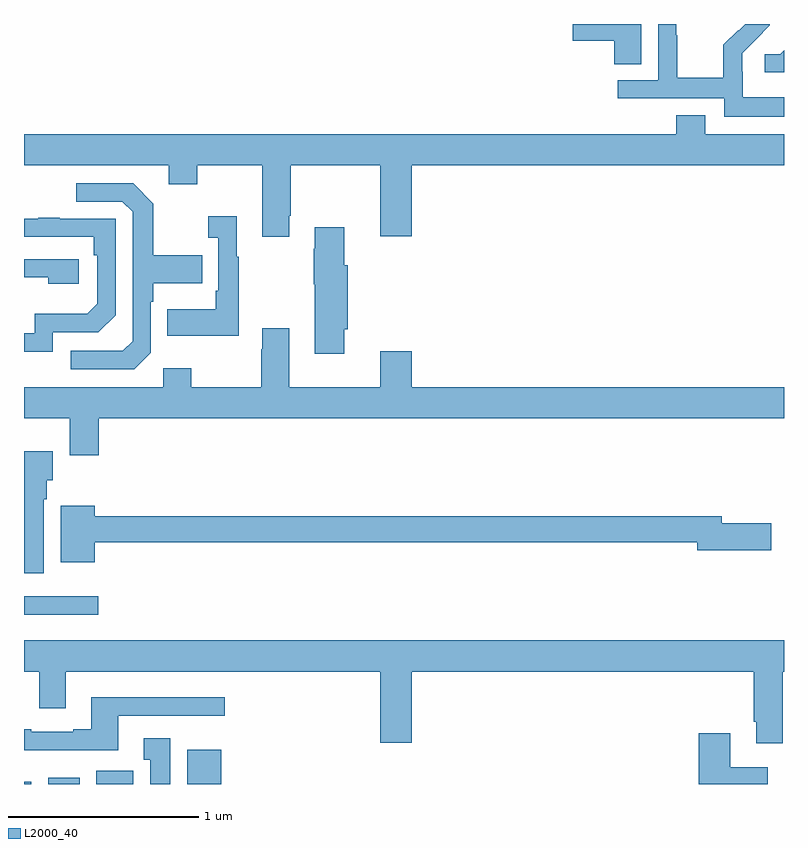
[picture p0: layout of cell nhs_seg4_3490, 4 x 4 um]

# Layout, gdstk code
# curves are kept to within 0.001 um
import gdstk
lib = gdstk.Library(unit=1e-6, precision=1e-09)
def R(c, l, rs):  # rectangles x0, y0, x1, y1
    for r in rs: c.add(gdstk.rectangle(r[:2], r[2:], *l))
def P(c, l, *ps):  # polygons
    for p in ps: c.add(gdstk.Polygon(p, *l))
L2000_40 = (2000, 40)

nhs_seg4_3490 = lib.new_cell('nhs_seg4_3490')
R(nhs_seg4_3490, L2000_40, [(295,790.9,295.039,790.912), (295.127,790.9,295.294,790.933), (295.379,790.9,295.575,790.969), (295.859,790.9,296.038,791.08), (295,791.792,295.39,791.889)])
P(nhs_seg4_3490, L2000_40, [(298.249,794.9),(297.888,794.9),(297.888,794.813),(298.106,794.813),(298.106,794.689),(298.249,794.689)],
  [(299,794.515),(298.782,794.515),(298.782,794.649),(298.78,794.649),(298.78,794.746),(298.926,794.894),(298.926,794.9),(298.796,794.9),(298.761,794.865),(298.758,794.868),(298.681,794.791),(298.681,794.617),(298.437,794.617),(298.437,794.84),(298.434,794.84),(298.434,794.9),(298.338,794.9),(298.338,794.604),(298.125,794.604),(298.125,794.508),(298.686,794.508),(298.686,794.411),(299,794.411)],
  [(299,794.762),(298.98,794.742),(298.899,794.742),(298.899,794.645),(299,794.645)],
  [(296.395,793.891),(296.403,793.891),(296.403,794.156),(296.876,794.156),(296.876,793.782),(297.04,793.782),(297.04,794.156),(299,794.156),(299,794.32),(298.585,794.32),(298.585,794.419),(298.433,794.419),(298.433,794.32),(295,794.32),(295,794.156),(295.763,794.156),(295.763,794.057),(295.911,794.057),(295.911,794.156),(296.255,794.156),(296.255,793.779),(296.395,793.779)],
  [(295.668,793.17),(295.668,793.439),(295.681,793.439),(295.681,793.535),(295.937,793.535),(295.937,793.683),(295.681,793.683),(295.681,793.955),(295.575,794.061),(295.275,794.061),(295.275,793.965),(295.518,793.965),(295.572,793.911),(295.572,793.23),(295.521,793.179),(295.245,793.179),(295.245,793.083),(295.581,793.083)],
  [(296.131,793.675),(296.119,793.675),(296.119,793.888),(295.971,793.888),(295.971,793.775),(296.022,793.775),(296.022,793.495),(296.01,793.495),(296.01,793.399),(295.753,793.399),(295.753,793.259),(296.131,793.259)],
  [(295.152,793.278),(295.392,793.278),(295.482,793.368),(295.482,793.875),(295.187,793.875),(295.187,793.88),(295.075,793.88),(295.075,793.875),(295,793.875),(295,793.779),(295.366,793.779),(295.366,793.682),(295.386,793.682),(295.386,793.428),(295.333,793.375),(295.056,793.375),(295.056,793.272),(295,793.272),(295,793.176),(295.152,793.176)],
  [(296.686,793.293),(296.704,793.293),(296.704,793.629),(296.686,793.629),(296.686,793.831),(296.531,793.831),(296.531,793.718),(296.524,793.718),(296.524,793.529),(296.531,793.529),(296.531,793.164),(296.686,793.164)],
  [(295.288,793.662),(295,793.662),(295,793.566),(295.127,793.566),(295.127,793.532),(295.288,793.532)],
  [(295.394,792.824),(299,792.824),(299,792.988),(297.04,792.988),(297.04,793.177),(296.876,793.177),(296.876,792.988),(296.395,792.988),(296.395,793.3),(296.255,793.3),(296.255,793.187),(296.248,793.187),(296.248,792.988),(295.881,792.988),(295.881,793.087),(295.734,793.087),(295.734,792.988),(295,792.988),(295,792.824),(295.241,792.824),(295.241,792.63),(295.394,792.63)],
  [(295.105,792.398),(295.12,792.398),(295.12,792.498),(295.15,792.498),(295.15,792.652),(295,792.652),(295,792.009),(295.105,792.009)],
  [(295.372,792.172),(298.544,792.172),(298.544,792.13),(298.933,792.13),(298.933,792.272),(298.672,792.272),(298.672,792.308),(295.372,792.308),(295.372,792.364),(295.193,792.364),(295.193,792.068),(295.372,792.068)],
  [(298.993,791.492),(299,791.492),(299,791.656),(295,791.656),(295,791.492),(295.079,791.492),(295.079,791.298),(295.219,791.298),(295.219,791.492),(296.876,791.492),(296.876,791.118),(297.04,791.118),(297.04,791.492),(298.841,791.492),(298.841,791.227),(298.853,791.227),(298.853,791.115),(298.993,791.115)],
  [(295.495,791.259),(296.056,791.259),(296.056,791.356),(295.355,791.356),(295.355,791.188),(295.259,791.188),(295.259,791.175),(295.039,791.175),(295.039,791.188),(295,791.188),(295,791.078),(295.495,791.078)],
  [(298.915,790.987),(298.717,790.987),(298.717,791.167),(298.55,791.167),(298.55,790.9),(298.915,790.9)],
  [(295.771,791.14),(295.631,791.14),(295.631,791.027),(295.664,791.027),(295.664,790.9),(295.771,790.9)])

lib.write_gds('nhs_seg4_3490.gds')
